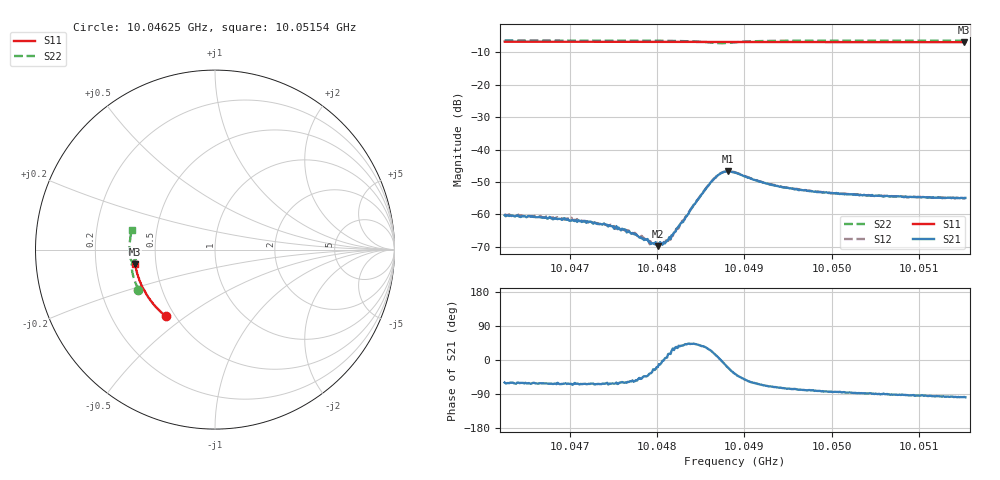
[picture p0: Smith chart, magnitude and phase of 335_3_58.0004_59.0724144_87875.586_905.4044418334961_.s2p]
#  HZ  S  RI  R  50.00
! Rohde & Schwarz Vector Network Analyzer
! Rohde-Schwarz,ZNB20-2Port,1311601062101988,3.16
! Created: UTC 3/21/2024, 1:05:17 AM
! freq[Hz]  re:S11  im:S11  re:S21  im:S21  re:S12  im:S12  re:S22  im:S22
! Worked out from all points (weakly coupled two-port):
!   401 points, 10.04625 GHz to 10.05154 GHz, reference 50 ohm
!   highest |S21| = -46.71 dB at 10.04881 GHz (marker M1); lowest = -69.8 dB at 10.04801 GHz (marker M2)
!   lowest |S11| = -6.9 dB at 10.05152 GHz (marker M3), VSWR 2.65, Z = 19 - j3.88 ohm
!   |S11| at or under -10 dB: nowhere
!   |S22| runs from -7.2 to -6.4 dB; largest |S21 - S12| = 0.00033
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1.0046252e10  -0.2721 -0.3725  0.000496 -0.000838  0.000536 -0.000855  -0.4267 -0.2226
1.0046556e10  -0.2879 -0.3598  0.000427 -0.000818  0.000501 -0.000796  -0.4351 -0.2041
1.0047137e10  -0.3158 -0.3336  0.000341 -0.000686  0.000411 -0.000676  -0.4493 -0.1672
1.0047401e10  -0.328 -0.321  0.000325 -0.000628  0.000343 -0.000607  -0.4547 -0.1499
1.0047612e10  -0.3372 -0.3106  0.0003 -0.000505  0.000316 -0.000482  -0.4585 -0.1354
1.0047731e10  -0.3424 -0.3047  0.000273 -0.000428  0.000334 -0.00037  -0.4603 -0.1269
1.0047929e10  -0.3505 -0.2945  0.000288 -0.000201  0.000337 -0.000189  -0.4628 -0.1124
1.0048009e10  -0.3537 -0.2903  0.000308 -0.000103  0.000343 -9.31e-05  -0.4635 -0.1064
1.0048022e10  -0.3543 -0.2896  0.000349 -6.76e-05  0.00034 -7.18e-05  -0.4637 -0.1054
1.0048088e10  -0.3569 -0.2862  0.000355 2.33e-05  0.000391 3.3e-05  -0.464 -0.1
1.004818e10  -0.3605 -0.2814  0.00042 0.000244  0.000405 0.000234  -0.4643 -0.0925
1.0048326e10  -0.3662 -0.2736  0.000667 0.000602  0.000655 0.000644  -0.463 -0.0796
1.0048497e10  -0.3725 -0.2642  0.0015 0.00119  0.00145 0.0013  -0.4558 -0.064
1.0048643e10  -0.3776 -0.2562  0.00323 0.00114  0.00318 0.00135  -0.4404 -0.0576
1.0048735e10  -0.3807 -0.2511  0.00435 -9.64e-05  0.00434 0.000207  -0.4322 -0.0651
1.0048814e10  -0.3834 -0.2469  0.00434 -0.00159  0.00445 -0.00135  -0.4349 -0.0745
1.0048893e10  -0.386 -0.2424  0.00356 -0.00263  0.00375 -0.00242  -0.4442 -0.0782
1.0049316e10  -0.3996 -0.2182  0.000975 -0.00267  0.00113 -0.00269  -0.4711 -0.0479
1.0049778e10  -0.4127 -0.1905  0.000394 -0.00223  0.000484 -0.00221  -0.4762 -0.0121
1.0050663e10  -0.4324 -0.136  -2.25e-05 -0.0019  0.000104 -0.00191  -0.4742 0.0491
1.0051522e10  -0.4447 -0.0813  -0.000238 -0.00178  -0.000178 -0.00175  -0.4643 0.1057
1.0051535e10  -0.445 -0.0804  -0.000259 -0.00178  -0.000175 -0.00178  -0.4642 0.1065
